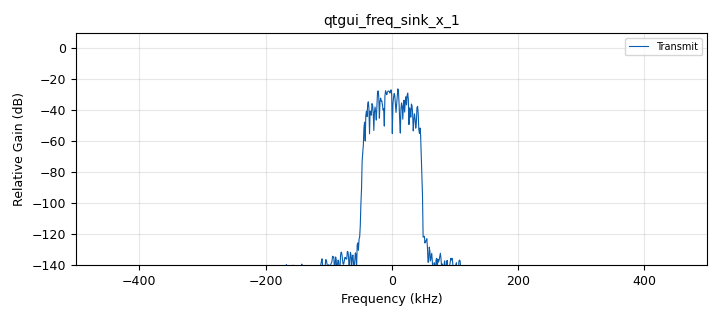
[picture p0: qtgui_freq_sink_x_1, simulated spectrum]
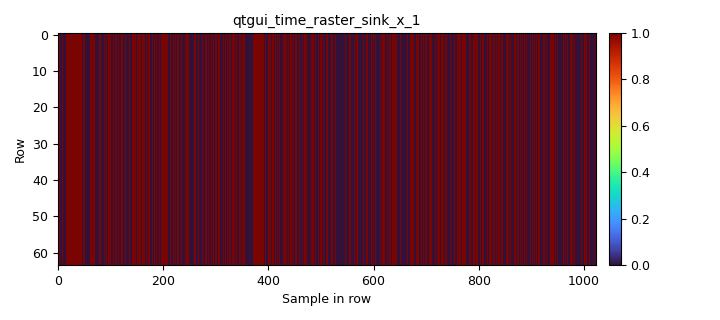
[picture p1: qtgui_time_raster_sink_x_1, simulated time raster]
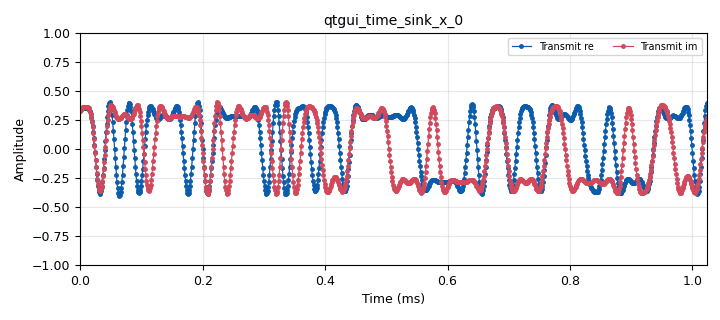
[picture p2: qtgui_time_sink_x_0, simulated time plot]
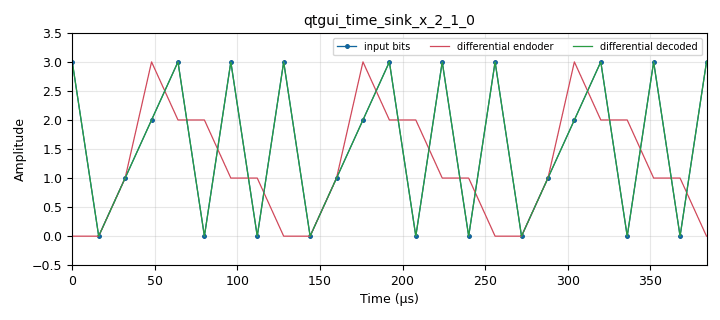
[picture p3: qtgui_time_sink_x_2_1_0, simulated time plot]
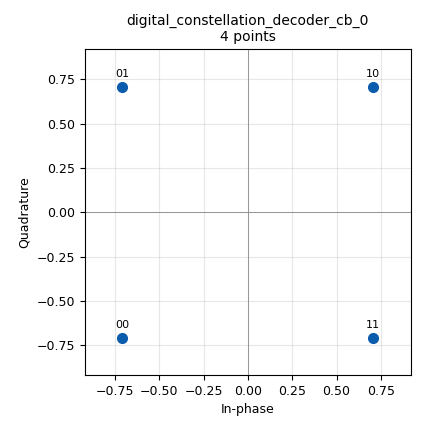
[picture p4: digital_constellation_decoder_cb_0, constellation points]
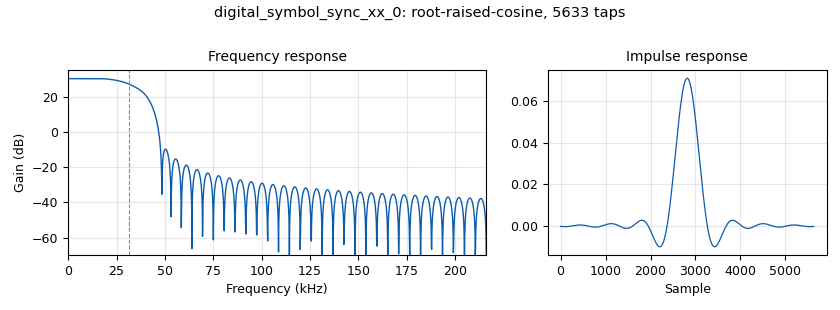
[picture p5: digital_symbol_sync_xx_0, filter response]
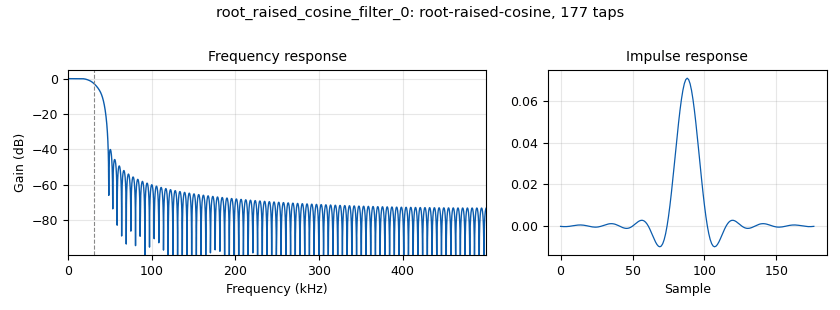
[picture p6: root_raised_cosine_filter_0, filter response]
options:
  parameters:
    author: jason
    generate_options: qt_gui
    generator_class_name: PythonQtGuiGenerator
    generator_module: gnuradio.grc.workflows.python_qt_gui
    id: lesson20_PhaseAmbiguity_and_DifferentialEncoding
    output_language: python
    title: PhaseAmbiguity
  states: {}

blocks:
- name: alpha
  id: variable
  parameters:
    comment: |-
      Can't change alpha in real time
      for Consteallation Modulator
    value: '0.50'
  states: {}
- name: center_freq
  id: variable
  parameters:
    value: 915e6
  states: {}
- name: constellation
  id: variable_constellation
  parameters:
    precision: '8'
    type: qpsk
  states: {state: disabled}
- name: constellation
  id: variable_constellation
  parameters:
    const_points: '[-1-1j, -1+1j, 1+1j, 1-1j]'
    dims: '1'
    normalization: digital.constellation.AMPLITUDE_NORMALIZATION
    precision: '8'
    rot_sym: '4'
    sym_map: '[0,1,2,3]'
    type: calcdist
  states: {}
- name: costas_loop_bandwidth_in_cycles_per_sample
  id: variable_qtgui_range
  parameters:
    gui_hint: 21,0
    start: '0.0001'
    step: '0.0001'
    stop: '0.2'
    value: '.01'
  states: {}
- name: nfilts
  id: variable
  parameters:
    value: '32'
  states: {}
- name: offset
  id: variable_qtgui_range
  parameters:
    comment: increased range with FLL
    gui_hint: 6,0
    start: '-500e3'
    step: '1'
    stop: 500e3
    value: '0'
  states: {}
- name: output_sps
  id: variable
  parameters:
    value: '1'
  states: {}
- name: rcc_taps
  id: variable_rrc_filter_taps
  parameters:
    alpha: alpha
    comment: |-
      Gain: nfilts
      Sample Rate: nfilts*samp_rate
      Symbol Rate: samp_rate/sps
      Excess BW: alpha
      Num Taps: 11*sps*nfilts
    gain: nfilts
    ntaps: 11*sps*nfilts
    samp_rate: nfilts*samp_rate
    sym_rate: samp_rate/sps
  states: {}
- name: rx_gain
  id: variable_qtgui_range
  parameters:
    gui_hint: 4,0
    start: '0'
    step: '1'
    stop: '70'
    value: '10'
  states: {}
- name: samp_rate
  id: variable
  parameters:
    value: 1e6
  states: {}
- name: sps
  id: variable
  parameters:
    value: '16'
  states: {}
- name: ted_gain
  id: variable
  parameters:
    comment: |-
      Expected TED gain = slope of the timing-error S-curve, in error units per SAMPLE of timing offset.
      For the Signal-times-Slope TED with root-raised-cosine pulses it is about
          1.1 * alpha * (AGC reference)^2 / sps        (sps >= 8; about 0.8*alpha/sps at sps = 4)
      measured by simulation (Oct 2026). The AGC reference here is 1.
      GNU Radio's default of 1.0 is ~30x too big for this flowgraph, which makes the loop slow and badly under-damped.
    value: 1.1*alpha/sps
  states: {}
- name: tx_attenuation
  id: variable_qtgui_range
  parameters:
    gui_hint: 3,0
    start: '0'
    step: '1'
    stop: '89'
    value: '10'
  states: {}
- name: analog_agc_xx_1
  id: analog_agc_xx
  parameters:
    gain: '1.0'
    max_gain: '65536'
    rate: '1e-4'
    reference: '1.0'
    type: complex
  states: {}
- name: analog_random_source_x_0
  id: analog_random_source_x
  parameters:
    max: constellation.arity()
    min: '0'
    num_samps: '512'
    repeat: 'True'
    type: byte
  states: {}
- name: analog_random_uniform_source_x_0_0
  id: analog_random_uniform_source_x
  parameters:
    comment: random 0s and 1s
    maximum: constellation.arity()
    minimum: '0'
    seed: '0'
    type: byte
  states: {state: disabled}
- name: analog_random_uniform_source_x_0_0_0
  id: analog_random_uniform_source_x
  parameters:
    comment: |-
      bytes with random bits
      (faster way to make random bytes)
    maximum: '256'
    minimum: '0'
    seed: '0'
    type: byte
  states: {state: disabled}
- name: analog_sig_source_x_0
  id: analog_sig_source_x
  parameters:
    amp: '1'
    freq: offset
    offset: '0'
    phase: '0'
    samp_rate: samp_rate
    type: complex
    waveform: analog.GR_COS_WAVE
  states: {}
- name: blocks_char_to_float_0
  id: blocks_char_to_float
  parameters:
    scale: '1'
  states: {}
- name: blocks_char_to_float_0_0
  id: blocks_char_to_float
  parameters:
    scale: '1'
  states: {}
- name: blocks_char_to_float_0_0_0
  id: blocks_char_to_float
  parameters:
    scale: '1'
  states: {}
- name: blocks_char_to_float_0_0_0_0
  id: blocks_char_to_float
  parameters:
    scale: '1'
  states: {}
- name: blocks_char_to_float_0_0_0_0_0
  id: blocks_char_to_float
  parameters:
    scale: '1'
  states: {}
- name: blocks_char_to_float_0_0_0_1
  id: blocks_char_to_float
  parameters:
    scale: '1'
  states: {}
- name: blocks_char_to_float_0_0_1
  id: blocks_char_to_float
  parameters:
    scale: '1'
  states: {}
- name: blocks_char_to_float_0_0_1_0
  id: blocks_char_to_float
  parameters:
    scale: '1'
  states: {}
- name: blocks_char_to_float_0_0_1_0_0
  id: blocks_char_to_float
  parameters:
    scale: '1'
  states: {}
- name: blocks_char_to_float_0_1
  id: blocks_char_to_float
  parameters:
    scale: '1'
  states: {}
- name: blocks_char_to_float_0_1_0
  id: blocks_char_to_float
  parameters:
    scale: '1'
  states: {}
- name: blocks_multiply_const_vxx_0
  id: blocks_multiply_const_vxx
  parameters:
    comment: |-
      Keep the signal from going
      above +1 or below -1
    const: '0.4'
    type: complex
  states: {}
- name: blocks_multiply_const_vxx_1
  id: blocks_multiply_const_vxx
  parameters:
    const: 1j
    type: complex
  states: {}
- name: blocks_multiply_const_vxx_1_0
  id: blocks_multiply_const_vxx
  parameters:
    const: '-1j'
    type: complex
  states: {}
- name: blocks_multiply_const_vxx_1_0_0
  id: blocks_multiply_const_vxx
  parameters:
    const: '-1'
    type: complex
  states: {}
- name: blocks_multiply_const_vxx_1_1
  id: blocks_multiply_const_vxx
  parameters:
    const: math.e**(2j*math.pi*0)
    type: complex
  states: {}
- name: blocks_multiply_xx_0
  id: blocks_multiply_xx
  parameters:
    type: complex
  states: {}
- name: blocks_skiphead_0
  id: blocks_skiphead
  parameters:
    comment: |-
      skip one second of samples
      to allow FLL to sync
    num_items: int(samp_rate)
    type: complex
  states: {}
- name: blocks_unpack_k_bits_bb_0
  id: blocks_unpack_k_bits_bb
  parameters:
    k: constellation.bits_per_symbol()
  states: {}
- name: blocks_unpack_k_bits_bb_0_0
  id: blocks_unpack_k_bits_bb
  parameters:
    k: constellation.bits_per_symbol()
  states: {}
- name: blocks_unpacked_to_packed_xx_0_0
  id: blocks_unpacked_to_packed_xx
  parameters:
    bits_per_chunk: constellation.bits_per_symbol()
    endianness: gr.GR_MSB_FIRST
    type: byte
  states: {}
- name: blocks_vector_source_x_0
  id: blocks_vector_source_x
  parameters:
    repeat: 'True'
    type: byte
    vector: '[0,1,2,3,0,3,0,3]'
  states: {}
- name: blocks_vector_source_x_0_0
  id: blocks_vector_source_x
  parameters:
    repeat: 'True'
    type: byte
    vector: '[0,1,0,1,0,0,0,1,1,0,0,0,1,1,1,1]'
  states: {state: disabled}
- name: digital_constellation_decoder_cb_0
  id: digital_constellation_decoder_cb
  parameters:
    constellation: constellation
  states: {}
- name: digital_constellation_decoder_cb_0_0
  id: digital_constellation_decoder_cb
  parameters:
    constellation: constellation
  states: {}
- name: digital_constellation_decoder_cb_0_0_0
  id: digital_constellation_decoder_cb
  parameters:
    constellation: constellation
  states: {}
- name: digital_constellation_decoder_cb_0_0_0_0
  id: digital_constellation_decoder_cb
  parameters:
    constellation: constellation
  states: {}
- name: digital_constellation_modulator_0
  id: digital_constellation_modulator
  parameters:
    comment: |-
      Unpack bytes into chunks of bits,
      look up constellation symbol,
      and apply RRC filter
    constellation: constellation
    differential: 'True'
    excess_bw: alpha
    samples_per_symbol: sps
  states: {}
- name: digital_costas_loop_cc_0
  id: digital_costas_loop_cc
  parameters:
    order: constellation.arity()
    w: 2*math.pi*costas_loop_bandwidth_in_cycles_per_sample
  states: {}
- name: digital_diff_decoder_bb_0
  id: digital_diff_decoder_bb
  parameters:
    coding: digital.DIFF_DIFFERENTIAL
    modulus: constellation.arity()
  states: {}
- name: digital_diff_decoder_bb_0_0
  id: digital_diff_decoder_bb
  parameters:
    coding: digital.DIFF_DIFFERENTIAL
    modulus: constellation.arity()
  states: {}
- name: digital_diff_decoder_bb_0_0_0
  id: digital_diff_decoder_bb
  parameters:
    coding: digital.DIFF_DIFFERENTIAL
    modulus: constellation.arity()
  states: {}
- name: digital_diff_decoder_bb_0_0_0_0
  id: digital_diff_decoder_bb
  parameters:
    coding: digital.DIFF_DIFFERENTIAL
    modulus: constellation.arity()
  states: {}
- name: digital_diff_decoder_bb_1
  id: digital_diff_decoder_bb
  parameters:
    coding: digital.DIFF_DIFFERENTIAL
    modulus: constellation.arity()
  states: {}
- name: digital_diff_encoder_bb_0_0_0_0_0
  id: digital_diff_encoder_bb
  parameters:
    coding: digital.DIFF_DIFFERENTIAL
    modulus: constellation.arity()
  states: {}
- name: digital_fll_band_edge_cc_0
  id: digital_fll_band_edge_cc
  parameters:
    comment: |-
      Samples Per Symbol: sps
      Filter Rolloff Factor: alpha
      Prototype Filter Size: sps*2+1
      Loop Bandwidth: 2*math.pi/sps/100
    filter_size: sps*2+1
    improved_loop_filter: 'False'
    rolloff: alpha
    samps_per_sym: sps
    type: cc
    w: 2*math.pi/sps/100
  states: {}
- name: digital_symbol_sync_xx_0
  id: digital_symbol_sync_xx
  parameters:
    comment: |-
      Filterbank Arms: nfilts
      PFB MF Taps: rcc_taps
      Changed Maximum Deviation to 0.1 because 
      the clocks aren't more off than 0.1 samples per symbol
    constellation: constellation
    damping: '1.0'
    loop_bw: '0.02'
    max_dev: '0.1'
    nfilters: nfilts
    osps: output_sps
    pfb_mf_taps: rcc_taps
    resamp_type: digital.IR_PFB_MF
    sps: sps
    ted_gain: ted_gain
    ted_type: digital.TED_SIGNAL_TIMES_SLOPE_ML
    type: cc
  states: {}
- name: iio_pluto_sink_0_0
  id: iio_pluto_sink
  parameters:
    attenuation1: tx_attenuation
    bandwidth: int(samp_rate)
    buffer_size: '32768'
    cyclic: 'False'
    filter_source: '''Auto'''
    frequency: int(center_freq)
    samplerate: int(samp_rate)
    type: fc32
    uri: 192.168.2.1
  states: {}
- name: import_0
  id: import
  parameters:
    imports: |-
      import math
      from gnuradio import gr
  states: {}
- name: qtgui_const_sink_x_0
  id: qtgui_const_sink_x
  parameters:
    comment: makes most sense if "Output Samples/Symbol" is 1
    gui_hint: 13,0
    label1: Symbol Sync
    size: '1024'
    type: complex
  states: {}
- name: qtgui_const_sink_x_0_0
  id: qtgui_const_sink_x
  parameters:
    comment: makes most sense if "Output Samples/Symbol" is 1
    gui_hint: 17,0
    label1: after Symbol Sync
    label2: after Costas
    nconnections: '2'
    size: '1024'
    type: complex
  states: {}
- name: qtgui_eye_sink_x_0
  id: qtgui_eye_sink_x
  parameters:
    comment: changed labels
    gui_hint: 10,0
    label1: Eye Diagram for Receive AGC and FLL Re
    label2: Eye Diagram for Receive AGC and FLL  Im
    marker1: '0'
    marker2: '0'
    samp_per_symbol: sps
    size: '1024'
    srate: samp_rate
    type: complex
    ymax: '2'
    ymin: '-2'
  states: {}
- name: qtgui_eye_sink_x_0_0
  id: qtgui_eye_sink_x
  parameters:
    gui_hint: 12,0
    label1: Eye Diagram for Receive Symbol Sync Re
    label2: Eye Diagram for Receive Symbol Sync  Im
    marker1: '0'
    marker2: '0'
    samp_per_symbol: sps
    size: '1024'
    srate: samp_rate/sps*output_sps
    type: complex
    ymax: '2'
    ymin: '-2'
  states: {}
- name: qtgui_eye_sink_x_0_0_0
  id: qtgui_eye_sink_x
  parameters:
    gui_hint: 16,0
    label1: Eye Diagram after Costas Re
    label2: Eye Diagram after Costas  Im
    marker1: '0'
    marker2: '0'
    samp_per_symbol: sps
    size: '1024'
    srate: samp_rate/sps*output_sps
    type: complex
    ymax: '2'
    ymin: '-2'
  states: {}
- name: qtgui_freq_sink_x_0
  id: qtgui_freq_sink_x
  parameters:
    average: '0.2'
    bw: samp_rate
    fc: '0'
    fftsize: 1024*8
    gui_hint: 8,0
    label1: Receive Raw
    label2: Receive Tuned and AGC
    label3: Receive FLL Band-Edge
    nconnections: '3'
    type: complex
  states: {}
- name: qtgui_freq_sink_x_1
  id: qtgui_freq_sink_x
  parameters:
    bw: samp_rate
    fc: '0'
    fftsize: '1024'
    gui_hint: 1,0
    label1: Transmit
    type: complex
  states: {}
- name: qtgui_time_raster_sink_x_1
  id: qtgui_time_raster_sink_x
  parameters:
    gui_hint: 28,0
    label1: Input Symbols
    ncols: 512*constellation.bits_per_symbol()
    nrows: '64'
    samp_rate: samp_rate
    type: byte
    zmin: '0'
  states: {}
- name: qtgui_time_raster_sink_x_1_0
  id: qtgui_time_raster_sink_x
  parameters:
    gui_hint: 29,0
    label1: Input Symbols
    ncols: 512*constellation.bits_per_symbol()
    nrows: '64'
    samp_rate: samp_rate
    type: byte
    zmin: '0'
  states: {}
- name: qtgui_time_sink_x_0
  id: qtgui_time_sink_x
  parameters:
    gui_hint: 0,0
    label1: Transmit re
    label2: Transmit im
    marker1: '0'
    marker2: '0'
    size: '1024'
    srate: samp_rate
    type: complex
  states: {}
- name: qtgui_time_sink_x_0_0
  id: qtgui_time_sink_x
  parameters:
    gui_hint: 5,0
    label1: Receive Raw Re
    label2: Receive Raw Im
    size: 1024*8
    srate: samp_rate
    type: complex
  states: {}
- name: qtgui_time_sink_x_0_0_0
  id: qtgui_time_sink_x
  parameters:
    gui_hint: 7,0
    label1: Receive Tuned and AGC Re
    label2: Receive Tuned and AGC Im
    size: 1024*8
    srate: samp_rate
    type: complex
    ymax: '2'
    ymin: '-2'
  states: {}
- name: qtgui_time_sink_x_0_0_0_0
  id: qtgui_time_sink_x
  parameters:
    gui_hint: 9,0
    label1: Receive Tuned AGC and FLL Re
    label2: Receive Tuned AGC and FLL Im
    size: 1024*8
    srate: samp_rate
    type: complex
    ymax: '2'
    ymin: '-2'
  states: {}
- name: qtgui_time_sink_x_0_0_0_0_0
  id: qtgui_time_sink_x
  parameters:
    gui_hint: 11,0
    label1: Receive Symbol Sync Re
    label2: Receive Symbol Sync Im
    size: 10*sps
    srate: samp_rate/sps*output_sps
    type: complex
    ymax: '2'
    ymin: '-2'
  states: {}
- name: qtgui_time_sink_x_0_0_0_0_0_0
  id: qtgui_time_sink_x
  parameters:
    gui_hint: 18,0
    label1: Receive after Costas Re
    label2: Receive after Costas Im
    marker1: '0'
    marker2: '0'
    size: '100'
    srate: samp_rate/sps*output_sps
    type: complex
    ymax: '2'
    ymin: '-2'
  states: {}
- name: qtgui_time_sink_x_1
  id: qtgui_time_sink_x
  parameters:
    autoscale: 'True'
    gui_hint: 14,0
    label1: Sync error
    size: '1024'
    srate: samp_rate
    type: float
  states: {}
- name: qtgui_time_sink_x_1_0
  id: qtgui_time_sink_x
  parameters:
    gui_hint: 15,0
    label1: Sync T_inst
    label2: Sync T_avg
    nconnections: '2'
    size: '1024'
    srate: samp_rate
    type: float
    ymax: sps*1.01
    ymin: sps*0.99
  states: {}
- name: qtgui_time_sink_x_1_1
  id: qtgui_time_sink_x
  parameters:
    alpha1: '0.5'
    gui_hint: 19,0
    label1: Costas error
    label2: Costas frequency [rad/samp]
    nconnections: '2'
    size: '10000'
    srate: samp_rate/sps*output_sps
    type: float
    width2: '2'
    ymax: '0.1'
    ymin: '-0.1'
  states: {}
- name: qtgui_time_sink_x_1_1_0
  id: qtgui_time_sink_x
  parameters:
    gui_hint: 20,0
    label1: Costas phase
    size: '10000'
    srate: samp_rate/sps*output_sps
    type: float
    ymax: '7'
    ymin: '-7'
  states: {}
- name: qtgui_time_sink_x_2
  id: qtgui_time_sink_x
  parameters:
    gui_hint: 22,0
    label1: 0 phase rotation
    marker1: '0'
    size: '50'
    srate: samp_rate/sps*output_sps
    type: float
    ymax: '3.5'
    ymin: '-0.5'
  states: {}
- name: qtgui_time_sink_x_2_0
  id: qtgui_time_sink_x
  parameters:
    color1: red
    gui_hint: 23,0
    label1: 1/4 cycle (90 deg) phase rotation
    marker1: '0'
    size: '50'
    srate: samp_rate/sps*output_sps
    type: float
    ymax: '3.5'
    ymin: '-0.5'
  states: {}
- name: qtgui_time_sink_x_2_0_0
  id: qtgui_time_sink_x
  parameters:
    color1: green
    gui_hint: 24,0
    label1: 1/2 cycle (180 deg) phase rotation
    marker1: '0'
    size: '50'
    srate: samp_rate/sps*output_sps
    type: float
    ymax: '3.5'
    ymin: '-0.5'
  states: {}
- name: qtgui_time_sink_x_2_0_0_0
  id: qtgui_time_sink_x
  parameters:
    color1: black
    gui_hint: 25,0
    label1: 3/4 cycle (270 deg) phase rotation
    marker1: '0'
    size: '50'
    srate: samp_rate/sps*output_sps
    type: float
    ymax: '3.5'
    ymin: '-0.5'
  states: {}
- name: qtgui_time_sink_x_2_1
  id: qtgui_time_sink_x
  parameters:
    gui_hint: 27,0
    label1: differential with 0 phase rotation
    label2: differential with 1/4 cycle (90 deg) phase rotation
    label3: differential with 1/2 cycle (180 deg) phase rotation
    label4: differential with 3/4 cycle (270 deg) phase rotation
    marker1: '0'
    nconnections: '4'
    size: '25'
    srate: samp_rate/sps*output_sps
    type: float
    ymax: '3.5'
    ymin: '-0.5'
  states: {}
- name: qtgui_time_sink_x_2_1_0
  id: qtgui_time_sink_x
  parameters:
    gui_hint: 26,0
    label1: input bits
    label2: differential endoder
    label3: differential decoded
    marker1: '0'
    nconnections: '3'
    size: '25'
    srate: samp_rate/sps*output_sps
    type: float
    ymax: '3.5'
    ymin: '-0.5'
  states: {}
- name: root_raised_cosine_filter_0
  id: root_raised_cosine_filter
  parameters:
    alpha: alpha
    decim: '1'
    gain: '1'
    ntaps: 11*sps
    samp_rate: samp_rate
    sym_rate: samp_rate/sps
    type: fir_filter_ccf
  states: {}
- name: root_raised_cosine_filter_0_0
  id: root_raised_cosine_filter
  parameters:
    alpha: alpha
    comment: |-
      if you use one of the other interpolators,
      you need this second RRC filter.
    decim: '1'
    gain: '1'
    ntaps: 11*sps
    samp_rate: samp_rate
    sym_rate: samp_rate/sps
    type: fir_filter_ccf
  states: {state: disabled}
- name: rtlsdr_source_0
  id: rtlsdr_source
  parameters:
    bb_gain0: '20'
    freq0: center_freq
    gain0: rx_gain
    gain_mode0: 'False'
    if_gain0: '20'
    sample_rate: samp_rate
    sync: sync
    type: fc32
  states: {}

connections:
- [analog_agc_xx_1, '0', digital_fll_band_edge_cc_0, '0']
- [analog_agc_xx_1, '0', qtgui_freq_sink_x_0, '1']
- [analog_agc_xx_1, '0', qtgui_time_sink_x_0_0_0, '0']
- [analog_random_source_x_0, '0', blocks_unpack_k_bits_bb_0, '0']
- [analog_random_source_x_0, '0', blocks_unpacked_to_packed_xx_0_0, '0']
- [analog_random_uniform_source_x_0_0, '0', blocks_unpacked_to_packed_xx_0_0, '0']
- [analog_random_uniform_source_x_0_0_0, '0', digital_constellation_modulator_0, '0']
- [analog_sig_source_x_0, '0', blocks_multiply_xx_0, '1']
- [blocks_char_to_float_0, '0', qtgui_time_sink_x_2, '0']
- [blocks_char_to_float_0_0, '0', qtgui_time_sink_x_2_0, '0']
- [blocks_char_to_float_0_0_0, '0', qtgui_time_sink_x_2_0_0, '0']
- [blocks_char_to_float_0_0_0_0, '0', qtgui_time_sink_x_2_0_0_0, '0']
- [blocks_char_to_float_0_0_0_0_0, '0', qtgui_time_sink_x_2_1, '3']
- [blocks_char_to_float_0_0_0_1, '0', qtgui_time_sink_x_2_1, '2']
- [blocks_char_to_float_0_0_1, '0', qtgui_time_sink_x_2_1, '1']
- [blocks_char_to_float_0_0_1_0, '0', qtgui_time_sink_x_2_1_0, '1']
- [blocks_char_to_float_0_0_1_0_0, '0', qtgui_time_sink_x_2_1_0, '2']
- [blocks_char_to_float_0_1, '0', qtgui_time_sink_x_2_1, '0']
- [blocks_char_to_float_0_1_0, '0', qtgui_time_sink_x_2_1_0, '0']
- [blocks_multiply_const_vxx_0, '0', iio_pluto_sink_0_0, '0']
- [blocks_multiply_const_vxx_0, '0', qtgui_freq_sink_x_1, '0']
- [blocks_multiply_const_vxx_0, '0', qtgui_time_sink_x_0, '0']
- [blocks_multiply_const_vxx_1, '0', digital_constellation_decoder_cb_0_0, '0']
- [blocks_multiply_const_vxx_1_0, '0', digital_constellation_decoder_cb_0_0_0_0, '0']
- [blocks_multiply_const_vxx_1_0_0, '0', digital_constellation_decoder_cb_0_0_0, '0']
- [blocks_multiply_const_vxx_1_1, '0', digital_constellation_decoder_cb_0, '0']
- [blocks_multiply_xx_0, '0', analog_agc_xx_1, '0']
- [blocks_skiphead_0, '0', digital_symbol_sync_xx_0, '0']
- [blocks_skiphead_0, '0', root_raised_cosine_filter_0_0, '0']
- [blocks_unpack_k_bits_bb_0, '0', qtgui_time_raster_sink_x_1, '0']
- [blocks_unpack_k_bits_bb_0_0, '0', qtgui_time_raster_sink_x_1_0, '0']
- [blocks_unpacked_to_packed_xx_0_0, '0', digital_constellation_modulator_0, '0']
- [blocks_vector_source_x_0, '0', blocks_char_to_float_0_1_0, '0']
- [blocks_vector_source_x_0, '0', digital_diff_encoder_bb_0_0_0_0_0, '0']
- [blocks_vector_source_x_0_0, '0', blocks_unpacked_to_packed_xx_0_0, '0']
- [digital_constellation_decoder_cb_0, '0', blocks_char_to_float_0, '0']
- [digital_constellation_decoder_cb_0, '0', digital_diff_decoder_bb_0, '0']
- [digital_constellation_decoder_cb_0_0, '0', blocks_char_to_float_0_0, '0']
- [digital_constellation_decoder_cb_0_0, '0', digital_diff_decoder_bb_0_0, '0']
- [digital_constellation_decoder_cb_0_0_0, '0', blocks_char_to_float_0_0_0, '0']
- [digital_constellation_decoder_cb_0_0_0, '0', digital_diff_decoder_bb_0_0_0, '0']
- [digital_constellation_decoder_cb_0_0_0_0, '0', blocks_char_to_float_0_0_0_0, '0']
- [digital_constellation_decoder_cb_0_0_0_0, '0', digital_diff_decoder_bb_0_0_0_0, '0']
- [digital_constellation_modulator_0, '0', blocks_multiply_const_vxx_0, '0']
- [digital_costas_loop_cc_0, '0', blocks_multiply_const_vxx_1, '0']
- [digital_costas_loop_cc_0, '0', blocks_multiply_const_vxx_1_0, '0']
- [digital_costas_loop_cc_0, '0', blocks_multiply_const_vxx_1_0_0, '0']
- [digital_costas_loop_cc_0, '0', blocks_multiply_const_vxx_1_1, '0']
- [digital_costas_loop_cc_0, '0', qtgui_const_sink_x_0_0, '1']
- [digital_costas_loop_cc_0, '0', qtgui_eye_sink_x_0_0_0, '0']
- [digital_costas_loop_cc_0, '0', qtgui_time_sink_x_0_0_0_0_0_0, '0']
- [digital_costas_loop_cc_0, '1', qtgui_time_sink_x_1_1, '1']
- [digital_costas_loop_cc_0, '2', qtgui_time_sink_x_1_1_0, '0']
- [digital_costas_loop_cc_0, '3', qtgui_time_sink_x_1_1, '0']
- [digital_diff_decoder_bb_0, '0', blocks_char_to_float_0_1, '0']
- [digital_diff_decoder_bb_0, '0', blocks_unpack_k_bits_bb_0_0, '0']
- [digital_diff_decoder_bb_0_0, '0', blocks_char_to_float_0_0_1, '0']
- [digital_diff_decoder_bb_0_0_0, '0', blocks_char_to_float_0_0_0_1, '0']
- [digital_diff_decoder_bb_0_0_0_0, '0', blocks_char_to_float_0_0_0_0_0, '0']
- [digital_diff_decoder_bb_1, '0', blocks_char_to_float_0_0_1_0_0, '0']
- [digital_diff_encoder_bb_0_0_0_0_0, '0', blocks_char_to_float_0_0_1_0, '0']
- [digital_diff_encoder_bb_0_0_0_0_0, '0', digital_diff_decoder_bb_1, '0']
- [digital_fll_band_edge_cc_0, '0', blocks_skiphead_0, '0']
- [digital_fll_band_edge_cc_0, '0', qtgui_freq_sink_x_0, '2']
- [digital_fll_band_edge_cc_0, '0', root_raised_cosine_filter_0, '0']
- [digital_symbol_sync_xx_0, '0', digital_costas_loop_cc_0, '0']
- [digital_symbol_sync_xx_0, '0', qtgui_const_sink_x_0, '0']
- [digital_symbol_sync_xx_0, '0', qtgui_const_sink_x_0_0, '0']
- [digital_symbol_sync_xx_0, '0', qtgui_eye_sink_x_0_0, '0']
- [digital_symbol_sync_xx_0, '0', qtgui_time_sink_x_0_0_0_0_0, '0']
- [digital_symbol_sync_xx_0, '1', qtgui_time_sink_x_1, '0']
- [digital_symbol_sync_xx_0, '2', qtgui_time_sink_x_1_0, '0']
- [digital_symbol_sync_xx_0, '3', qtgui_time_sink_x_1_0, '1']
- [root_raised_cosine_filter_0, '0', qtgui_eye_sink_x_0, '0']
- [root_raised_cosine_filter_0, '0', qtgui_time_sink_x_0_0_0_0, '0']
- [root_raised_cosine_filter_0_0, '0', digital_symbol_sync_xx_0, '0']
- [rtlsdr_source_0, '0', blocks_multiply_xx_0, '0']
- [rtlsdr_source_0, '0', qtgui_freq_sink_x_0, '0']
- [rtlsdr_source_0, '0', qtgui_time_sink_x_0_0, '0']

metadata:
  file_format: 1
  grc_version: 3.10.12.0
